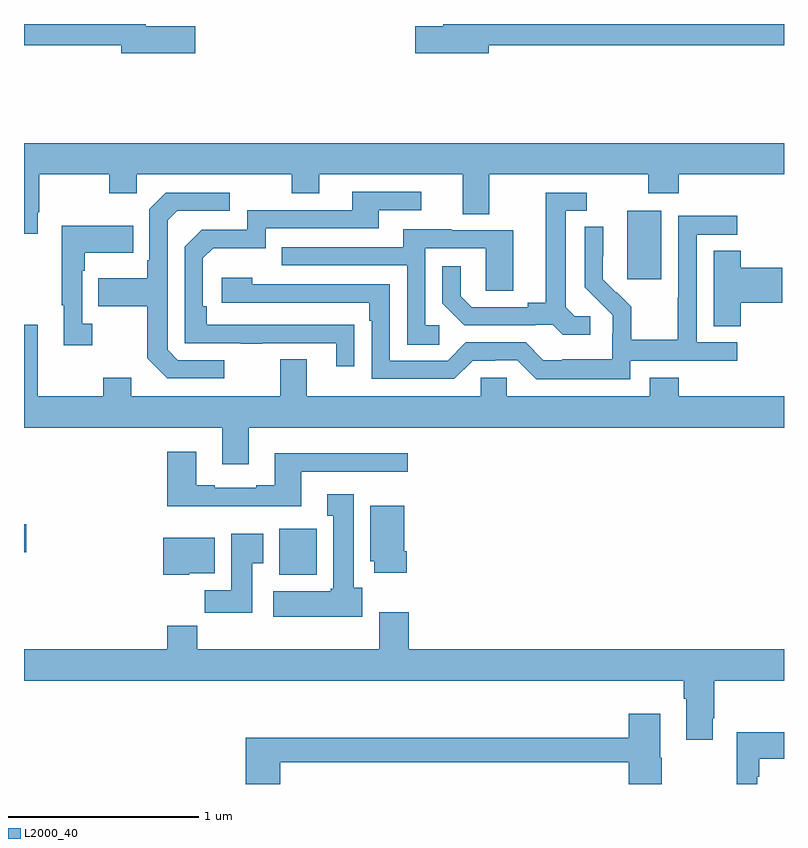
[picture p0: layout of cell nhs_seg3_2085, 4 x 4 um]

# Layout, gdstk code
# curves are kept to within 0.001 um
import gdstk
lib = gdstk.Library(unit=1e-6, precision=1e-09)
def R(c, l, rs):  # rectangles x0, y0, x1, y1
    for r in rs: c.add(gdstk.rectangle(r[:2], r[2:], *l))
def P(c, l, *ps):  # polygons
    for p in ps: c.add(gdstk.Polygon(p, *l))
L2000_40 = (2000, 40)

nhs_seg3_2085 = lib.new_cell('nhs_seg3_2085')
R(nhs_seg3_2085, L2000_40, [(220.343,673.502,220.54,673.744), (219,673.619,219.013,673.766), (222.176,675.057,222.355,675.418)])
P(nhs_seg3_2085, L2000_40, [(219.901,676.388),(219.64,676.388),(219.64,676.4),(219,676.4),(219,676.288),(219.512,676.288),(219.512,676.246),(219.901,676.246)],
  [(221.446,676.288),(223,676.288),(223,676.4),(221.207,676.4),(221.207,676.388),(221.058,676.388),(221.058,676.246),(221.446,676.246)],
  [(219,675.297),(219.073,675.297),(219.073,675.409),(219.081,675.409),(219.081,675.608),(219.448,675.608),(219.448,675.509),(219.594,675.509),(219.594,675.608),(220.408,675.608),(220.408,675.509),(220.555,675.509),(220.555,675.608),(221.309,675.608),(221.309,675.4),(221.449,675.4),(221.449,675.608),(222.286,675.608),(222.286,675.509),(222.446,675.509),(222.446,675.608),(223,675.608),(223,675.772),(219,675.772)],
  [(220.739,674.816),(219.962,674.817),(219.962,674.914),(219.942,674.914),(219.942,675.168),(219.995,675.221),(220.272,675.221),(220.272,675.324),(220.867,675.324),(220.867,675.42),(221.092,675.42),(221.092,675.516),(220.727,675.516),(220.727,675.42),(220.176,675.42),(220.176,675.318),(219.936,675.318),(219.846,675.228),(219.846,674.721),(220.141,674.721),(220.141,674.716),(220.253,674.716),(220.253,674.721),(220.643,674.721),(220.643,674.598),(220.739,674.598)],
  [(220.054,674.631),(219.81,674.631),(219.756,674.685),(219.756,675.366),(219.807,675.417),(220.084,675.417),(220.084,675.513),(219.747,675.513),(219.66,675.426),(219.66,675.157),(219.648,675.157),(219.648,675.061),(219.391,675.061),(219.391,674.914),(219.648,674.914),(219.648,674.641),(219.753,674.535),(220.054,674.535)],
  [(221.98,674.862),(221.898,674.862),(221.851,674.909),(221.851,675.417),(221.962,675.417),(221.962,675.513),(221.747,675.513),(221.747,674.933),(221.651,674.933),(221.651,674.91),(221.356,674.91),(221.299,674.967),(221.299,675.124),(221.202,675.124),(221.202,674.93),(221.318,674.814),(221.69,674.814),(221.69,674.817),(221.784,674.817),(221.836,674.765),(221.98,674.765)],
  [(222.192,674.628),(222.754,674.628),(222.754,674.724),(222.54,674.724),(222.54,675.291),(222.754,675.291),(222.754,675.39),(222.444,675.39),(222.444,674.96),(222.442,674.96),(222.442,674.737),(222.197,674.737),(222.197,674.911),(222.12,674.988),(222.117,674.985),(222.047,675.056),(222.048,675.332),(221.952,675.332),(221.952,675.014),(222.098,674.866),(222.098,674.769),(222.096,674.769),(222.096,674.635),(221.833,674.635),(221.833,674.631),(221.733,674.631),(221.64,674.724),(221.325,674.724),(221.229,674.628),(220.926,674.628),(220.926,675.03),(220.202,675.03),(220.202,675.064),(220.041,675.064),(220.041,674.934),(220.817,674.934),(220.817,674.837),(220.83,674.837),(220.83,674.532),(221.265,674.532),(221.361,674.628),(221.48,674.628),(221.48,674.631),(221.595,674.631),(221.695,674.531),(222.192,674.531)],
  [(219.358,674.822),(219.306,674.822),(219.306,675.101),(219.319,675.101),(219.319,675.197),(219.575,675.197),(219.575,675.337),(219.198,675.337),(219.198,674.921),(219.209,674.921),(219.209,674.709),(219.358,674.709)],
  [(221.185,674.814),(221.112,674.814),(221.112,675.219),(221.43,675.219),(221.43,674.995),(221.575,674.995),(221.575,675.315),(221.251,675.315),(221.251,675.319),(220.997,675.319),(220.997,675.225),(220.357,675.225),(220.357,675.129),(221.016,675.129),(221.016,674.713),(221.185,674.713)],
  [(222.773,674.933),(222.991,674.933),(222.991,675.116),(222.773,675.116),(222.773,675.206),(222.629,675.206),(222.629,674.809),(222.773,674.809)],
  [(220.183,674.276),(223,674.276),(223,674.44),(222.446,674.44),(222.446,674.539),(222.293,674.539),(222.293,674.44),(221.541,674.44),(221.541,674.538),(221.403,674.538),(221.403,674.44),(220.489,674.44),(220.489,674.635),(220.349,674.635),(220.349,674.44),(219.565,674.44),(219.565,674.539),(219.418,674.539),(219.418,674.44),(219.073,674.44),(219.073,674.818),(219,674.818),(219,674.276),(220.043,674.276),(220.043,674.082),(220.183,674.082)],
  [(220.459,674.043),(221.02,674.043),(221.02,674.14),(220.319,674.14),(220.319,673.972),(220.223,673.972),(220.223,673.959),(220.003,673.959),(220.003,673.972),(219.907,673.972),(219.907,674.149),(219.755,674.149),(219.755,673.862),(220.459,673.862)],
  [(220.78,673.434),(220.735,673.434),(220.735,673.924),(220.595,673.924),(220.595,673.811),(220.628,673.811),(220.628,673.428),(220.615,673.428),(220.615,673.414),(220.311,673.414),(220.311,673.28),(220.78,673.28)],
  [(221.015,673.624),(221.002,673.624),(221.002,673.864),(220.823,673.864),(220.823,673.572),(220.844,673.572),(220.844,673.512),(221.015,673.512)],
  [(220.201,673.561),(220.258,673.561),(220.258,673.717),(220.091,673.717),(220.091,673.42),(219.952,673.42),(219.952,673.302),(220.201,673.302)],
  [(219.87,673.508),(220.003,673.508),(220.003,673.696),(219.734,673.696),(219.734,673.502),(219.87,673.502)],
  [(222.625,672.745),(222.633,672.745),(222.633,672.944),(223,672.944),(223,673.108),(221.024,673.108),(221.024,673.303),(220.871,673.303),(220.871,673.108),(219.911,673.108),(219.911,673.232),(219.755,673.232),(219.755,673.108),(219,673.108),(219,672.944),(222.473,672.944),(222.473,672.848),(222.485,672.848),(222.485,672.633),(222.625,672.633)],
  [(220.349,672.514),(222.182,672.514),(222.182,672.4),(222.357,672.4),(222.357,672.537),(222.349,672.537),(222.349,672.769),(222.182,672.769),(222.182,672.643),(220.166,672.643),(220.166,672.4),(220.349,672.4)],
  [(222.858,672.437),(222.871,672.437),(222.871,672.533),(223,672.533),(223,672.673),(222.75,672.673),(222.75,672.4),(222.858,672.4)])

lib.write_gds('nhs_seg3_2085.gds')
